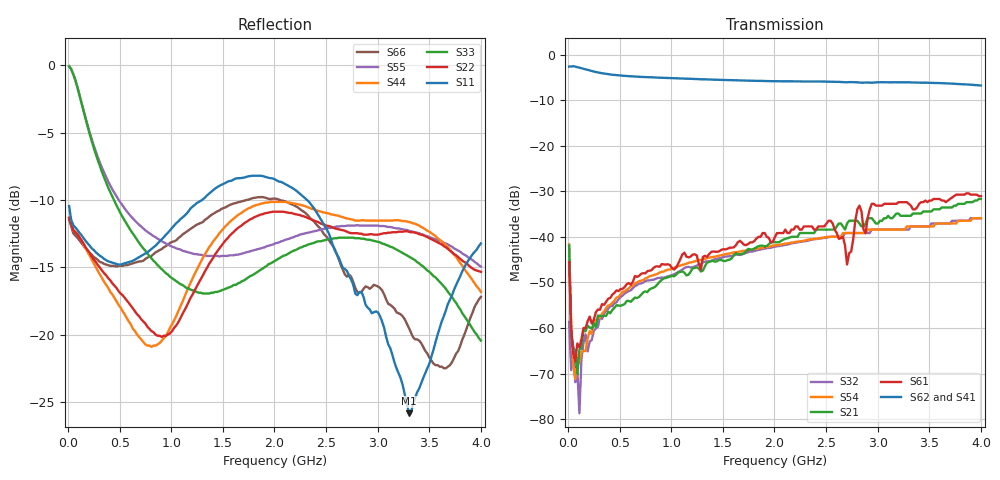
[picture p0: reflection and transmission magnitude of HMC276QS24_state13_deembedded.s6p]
! Hittite Microwave Corporation
! 20 Alpha Road
! Chelmsford, MA 01824
! Tel: 978-250-3343
! Fax: 978-250-3373
! Device: HMC276QS24, 0.7-3.0 GHz, GaAS MMIC 4x2 Switch Matrix in 24-lead QSOP package
! Misc: Data was de-embedded to package pins.
!  Port 1 = OP1
!  Port 2 = VL
!  Port 3 = VH
!  Port 4 = HH
!  Port 5 = HL
!  Port 6 = OP2
!  Vdd = +5 V
!  Vctl = 0 V[Logic 0] / +5 V[Logic 1]
!  State 13,  HH to OP1,  VL to OP2
!  Control Lines (Logic)
!  HV 1 = 1, Tone 1 = 1
!  HV 2 = 0, Tone 2 = 0
!  Data reformated to new Touchstone file format - Wed Jan 10 15:57:24 2007
# MHz S DB R 50
! 6 Port Network Data
! freq  dbS11  angS11  dbS12  angS12  dbS13  angS13  dbS14  angS14
!  dbS15  angS15  dbS16  angS16
!  dbS21  angS21  dbS22  angS22
!  dbS23  angS23  dbS24  angS24  dbS25  angS25  dbS26  angS26
!  dbS31  angS31  dbS32  angS32  dbS33  angS33  dbS34  angS34
!  dbS35  angS35  dbS36  angS36
!  dbS41  angS41  dbS42  angS42
!  dbS43  angS43  dbS44  angS44  dbS45  angS45  dbS46  angS46
!  dbS51  angS51  dbS52  angS52  dbS53  angS53  dbS54  angS54
!  dbS55  angS55  dbS56  angS56
!  dbS61  angS61  dbS62  angS62
!  dbS63  angS63  dbS64  angS64  dbS65  angS65  dbS66  angS66
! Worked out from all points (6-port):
!   201 points, 10 MHz to 4 GHz, reference 50 ohm
!   strongest paths, dB at 10 MHz, 1.008 GHz, 2.005 GHz, 3.002 GHz, 4 GHz:
!     S62: -2.7, -5.2, -5.9, -6.1, -6.8
!     S41: -2.9, -5.3, -6.1, -6.2, -7.0
!     S61: -45.6, -46.9, -40.0, -33.2, -31.1
!     S21: -41.9, -48.6, -41.2, -37.1, -31.7
!     S54: -41.7, -47.0, -41.9, -38.4, -35.9
!     S32: -58.6, -48.4, -42.2, -38.4, -35.9
!   lowest |S11| = -25.8 dB at 3.302 GHz (marker M1), VSWR 1.11, Z = 54.2 + j3.25 ohm
!   |S11| at or under -10 dB: start of sweep to 1.298 GHz; 2.315 GHz to end of sweep
